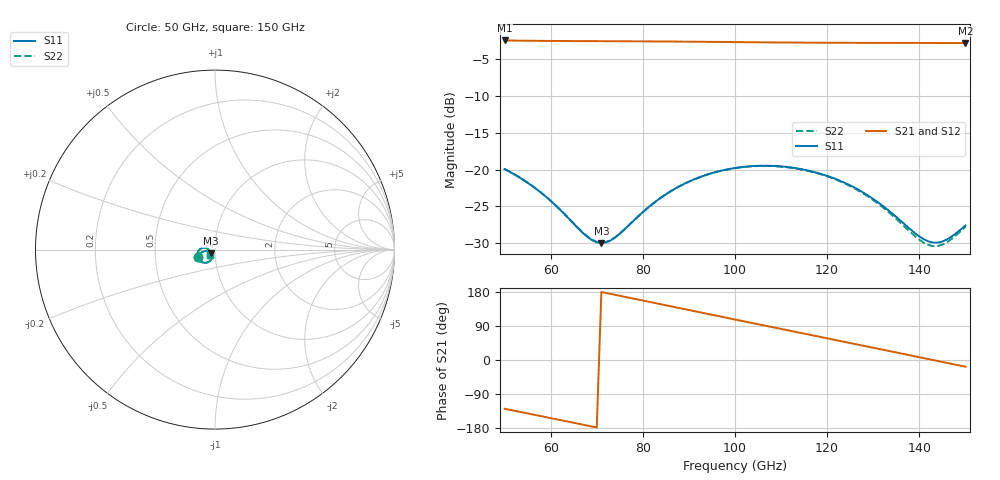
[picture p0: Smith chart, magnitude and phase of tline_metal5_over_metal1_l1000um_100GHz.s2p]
#  GHZ S DB R 50
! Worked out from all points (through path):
!   101 points, 50 GHz to 150 GHz, reference 50 ohm
!   highest |S21| = -2.44 dB at 50 GHz (marker M1); lowest = -2.8 dB at 150 GHz (marker M2)
!   group delay of S21, straight-line fit = 6.92 ps
!   lowest |S11| = -30.0 dB at 71 GHz (marker M3), VSWR 1.07, Z = 47.6 - j1.89 ohm
!   |S11| at or under -10 dB: start of sweep to end of sweep
!   |S22| runs from -30.4 to -19.5 dB; largest |S21 - S12| = 8.6e-14
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50  -19.93 -156.1  -2.44 -128.7  -2.44 -128.7  -19.91 -156.1
55  -21.78 -165.5  -2.47 -141.0  -2.47 -141.0  -21.77 -165.4
59  -23.70 -170.3  -2.50 -150.8  -2.50 -150.8  -23.67 -170.2
67  -28.61 -161.9  -2.52 -170.6  -2.52 -170.6  -28.56 -161.9
69  -29.59 -152.8  -2.53 -175.6  -2.53 -175.6  -29.53 -152.9
71  -29.98 -141.3  -2.53 179.4  -2.53 179.4  -29.92 -141.5
74  -29.21 -124.9  -2.54 171.9  -2.54 171.9  -29.18 -125.3
79  -26.34 -112.4  -2.56 159.4  -2.56 159.4  -26.33 -112.7
84  -23.77 -112.9  -2.57 146.9  -2.57 146.9  -23.78 -113.2
92  -21.10 -123.8  -2.61 126.9  -2.61 126.9  -21.11 -124.0
100  -19.77 -138.7  -2.66 106.9  -2.66 106.9  -19.79 -138.9
104  -19.51 -146.5  -2.68 96.9  -2.68 96.9  -19.53 -146.8
108  -19.48 -154.4  -2.70 87.0  -2.70 87.0  -19.51 -154.7
112  -19.69 -162.2  -2.72 77.0  -2.72 77.0  -19.73 -162.5
117  -20.29 -171.5  -2.74 64.6  -2.74 64.6  -20.34 -171.9
121  -21.07 -178.3  -2.75 54.7  -2.75 54.7  -21.13 -178.7
126  -22.46 174.6  -2.76 42.3  -2.76 42.3  -22.57 174.0
134  -25.89 170.7  -2.77 22.4  -2.77 22.4  -26.13 169.9
140  -29.07 -176.7  -2.78 7.4  -2.78 7.4  -29.52 -176.7
143  -29.91 -162.3  -2.78 -0.1  -2.78 -0.1  -30.40 -161.0
146  -29.49 -147.0  -2.78 -7.7  -2.78 -7.7  -29.86 -144.4
150  -27.60 -133.9  -2.79 -17.7  -2.79 -17.7  -27.77 -131.0
